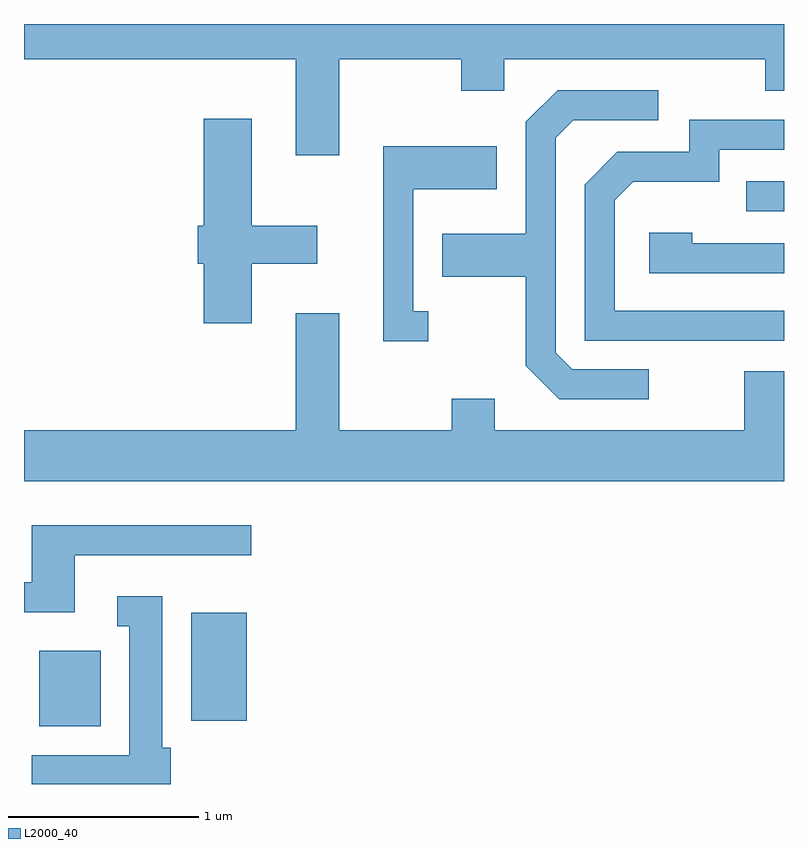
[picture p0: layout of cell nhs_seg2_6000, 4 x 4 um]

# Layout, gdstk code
import gdstk
lib = gdstk.Library(unit=1e-6, precision=1e-09)
def R(c, l, rs):  # rectangles x0, y0, x1, y1
    for r in rs: c.add(gdstk.rectangle(r[:2], r[2:], *l))
def P(c, l, *ps):  # polygons
    for p in ps: c.add(gdstk.Polygon(p, *l))
L2000_40 = (2000, 40)

nhs_seg2_6000 = lib.new_cell('nhs_seg2_6000')
R(nhs_seg2_6000, L2000_40, [(361.691,1078.106,362.014,1078.504), (362.491,1078.136,362.784,1078.704), (365.413,1080.816,365.611,1080.974)])
P(nhs_seg2_6000, L2000_40, [(363.269,1081.616),(363.911,1081.616),(363.911,1081.451),(364.139,1081.451),(364.139,1081.616),(365.511,1081.616),(365.511,1081.451),(365.611,1081.451),(365.611,1081.802),(361.611,1081.802),(361.611,1081.616),(363.041,1081.616),(363.041,1081.111),(363.269,1081.111)],
  [(364.898,1079.984),(364.497,1079.984),(364.409,1080.072),(364.409,1081.204),(364.502,1081.296),(364.948,1081.296),(364.948,1081.454),(364.419,1081.454),(364.251,1081.287),(364.251,1080.699),(363.811,1080.699),(363.811,1080.471),(364.251,1080.471),(364.251,1080.004),(364.429,1079.826),(364.898,1079.826)],
  [(362.809,1080.541),(363.154,1080.541),(363.154,1080.739),(362.809,1080.739),(362.809,1081.304),(362.556,1081.304),(362.556,1080.739),(362.526,1080.739),(362.526,1080.541),(362.556,1080.541),(362.556,1080.226),(362.809,1080.226)],
  [(365.611,1080.294),(364.719,1080.294),(364.719,1080.874),(364.817,1080.971),(365.269,1080.971),(365.269,1081.141),(365.611,1081.141),(365.611,1081.299),(365.111,1081.299),(365.111,1081.129),(364.734,1081.129),(364.561,1080.957),(364.561,1080.136),(365.611,1080.136)],
  [(363.738,1080.289),(363.659,1080.289),(363.659,1080.931),(364.099,1080.931),(364.099,1081.159),(363.501,1081.159),(363.501,1080.131),(363.738,1080.131)],
  [(365.611,1080.649),(365.129,1080.649),(365.129,1080.704),(364.901,1080.704),(364.901,1080.491),(365.611,1080.491)],
  [(365.611,1079.974),(365.401,1079.974),(365.401,1079.664),(364.089,1079.664),(364.089,1079.829),(363.861,1079.829),(363.861,1079.664),(363.269,1079.664),(363.269,1080.279),(363.041,1080.279),(363.041,1079.664),(361.611,1079.664),(361.611,1079.396),(365.611,1079.396)],
  [(361.879,1079.006),(362.808,1079.006),(362.808,1079.164),(361.651,1079.164),(361.651,1078.864),(361.611,1078.864),(361.611,1078.706),(361.879,1078.706)],
  [(362.384,1077.994),(362.339,1077.994),(362.339,1078.789),(362.103,1078.789),(362.103,1078.631),(362.166,1078.631),(362.166,1077.954),(361.651,1077.954),(361.651,1077.802),(362.384,1077.802)])

lib.write_gds('nhs_seg2_6000.gds')
